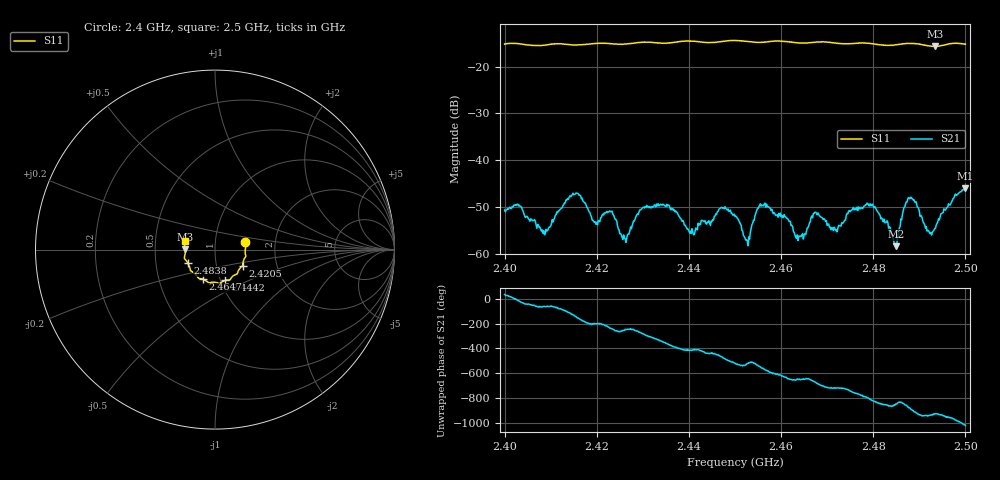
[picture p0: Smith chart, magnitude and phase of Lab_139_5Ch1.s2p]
# Hz S RI R 50
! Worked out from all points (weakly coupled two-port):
!   601 points, 2.4 GHz to 2.5 GHz, reference 50 ohm
!   highest |S21| = -46.05 dB at 2.5 GHz (marker M1); lowest = -58.4 dB at 2.485 GHz (marker M2)
!   lowest |S11| = -15.7 dB at 2.4935 GHz (marker M3), VSWR 1.39, Z = 35.9 + j0.113 ohm
!   |S11| at or under -10 dB: start of sweep to end of sweep
!   S12 and S22 are empty: the file has one direction only
!   S11 on the Smith chart (normalised r, x): 2.4 GHz: 1.40, +0.11; 2.4205 GHz: 1.34, -0.25; 2.4442 GHz: 1.06, -0.37; 2.4647 GHz: 0.83, -0.28; 2.4838 GHz: 0.73, -0.11; 2.5 GHz: 0.71, +0.07
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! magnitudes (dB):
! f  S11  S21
! 2.4 GHz  -15.2  -50.7
! 2.4088 GHz  -15.4  -55.6
! 2.4167 GHz  -15.3  -48.3
! 2.4205 GHz  -15.0  -53.1
! 2.4232 GHz  -15.1  -51.0
! 2.426 GHz  -15.2  -56.7
! 2.4333 GHz  -14.9  -49.4
! 2.4407 GHz  -14.5  -54.7
! 2.4442 GHz  -14.9  -53.3
! 2.45 GHz  -14.4  -52.1
! 2.4527 GHz  -14.6  -57.3
! 2.456 GHz  -14.8  -49.8
! 2.4647 GHz  -15.0  -55.7
! 2.4667 GHz  -14.8  -52.0
! 2.4718 GHz  -15.0  -55.1
! 2.4792 GHz  -15.0  -49.8
! 2.4833 GHz  -15.5  -54.6
! 2.4838 GHz  -15.5  -55.0
! 2.485 GHz  -15.3  -58.4
! 2.488 GHz  -15.0  -48.2
! 2.4935 GHz  -15.7  -54.6
! 2.5 GHz  -15.2  -46.1
